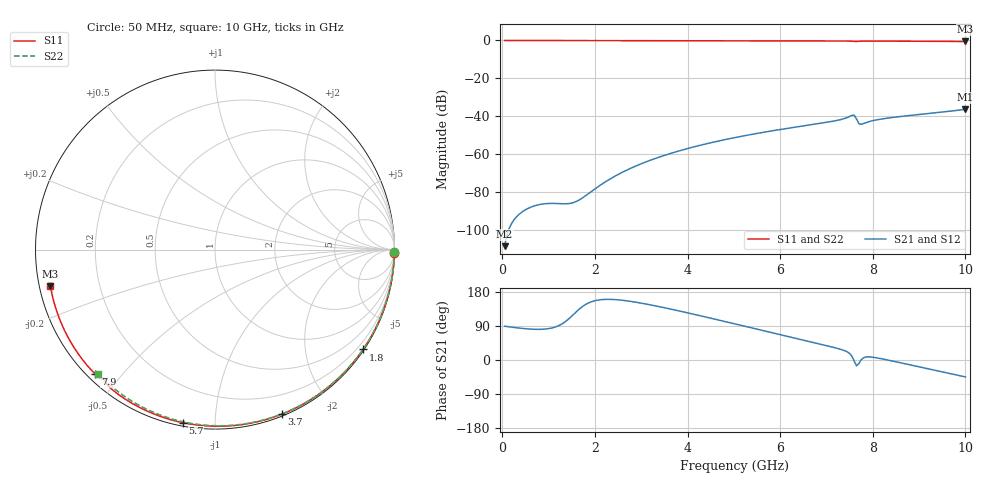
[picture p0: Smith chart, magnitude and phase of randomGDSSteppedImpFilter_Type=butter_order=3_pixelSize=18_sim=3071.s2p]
! freq	dB(S11)	phase(S11)	dB(S12)	phase(S12)
!  dB(S21)	phase(S21)	dB(S22)	phase(S22)
!S-par simulation data
#  GHz  S  DB  R 50
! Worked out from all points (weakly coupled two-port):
!   200 points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, 50 MHz to 10 GHz, reference 50 ohm
!   highest |S21| = -36.29 dB at 10 GHz (marker M1); lowest = -108.4 dB at 50 MHz (marker M2)
!   lowest |S11| = -0.5 dB at 10 GHz (marker M3), VSWR 31.88, Z = 1.59 - j5.46 ohm
!   |S11| at or under -10 dB: nowhere
!   |S22| runs from -0.5 to 0.0 dB; largest |S21 - S12| = 0
!   S11 on the Smith chart (normalised r, x): 50 MHz: open; 1.8 GHz: 0.03, -3.27; 3.7 GHz: 0.02, -1.49; 5.7 GHz: 0.02, -0.83; 7.9 GHz: 0.02, -0.43; 10 GHz: 0.03, -0.11
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0.05  -0.00 -1.0  -108.41 89.1  -108.41 89.1  -0.00 -0.8
0.85  -0.02 -16.2  -86.28 81.0  -86.28 81.0  -0.02 -12.9
1.75  -0.04 -33.1  -82.66 142.7  -82.66 142.7  -0.03 -26.3
1.8  -0.04 -34.0  -81.81 146.6  -81.81 146.6  -0.03 -27.1
1.9  -0.05 -35.8  -80.02 152.5  -80.02 152.5  -0.04 -28.5
2.3  -0.06 -43.1  -73.39 160.1  -73.39 160.1  -0.04 -34.4
2.7  -0.06 -50.3  -68.18 156.0  -68.18 156.0  -0.05 -40.2
3.4  -0.08 -62.6  -61.38 140.5  -61.38 140.5  -0.07 -50.1
3.7  -0.09 -67.8  -59.05 132.7  -59.05 132.7  -0.07 -54.3
4.35  -0.11 -78.7  -54.78 114.7  -54.78 114.7  -0.09 -63.2
5.05  -0.14 -90.2  -51.05 94.6  -51.05 94.6  -0.11 -72.6
5.7  -0.17 -100.6  -48.15 75.7  -48.15 75.7  -0.13 -81.0
6.7  -0.23 -116.1  -44.32 46.7  -44.32 46.7  -0.18 -93.6
7.3  -0.28 -125.5  -41.76 28.4  -41.76 28.4  -0.21 -100.9
7.55  -0.40 -129.7  -39.45 10.0  -39.45 10.0  -0.23 -103.9
7.6  -0.50 -130.2  -39.41 -3.1  -39.41 -3.1  -0.23 -104.6
7.7  -0.43 -130.4  -43.84 -9.4  -43.84 -9.4  -0.24 -105.8
7.75  -0.37 -131.3  -44.19 0.8  -44.19 0.8  -0.25 -106.4
7.9  -0.34 -133.8  -42.89 8.3  -42.89 8.3  -0.26 -108.1
8.35  -0.36 -140.9  -40.83 -0.8  -40.83 -0.8  -0.29 -113.5
9.2  -0.45 -154.2  -38.50 -23.4  -38.50 -23.4  -0.37 -123.5
10  -0.55 -167.5  -36.29 -44.7  -36.29 -44.7  -0.45 -133.2
